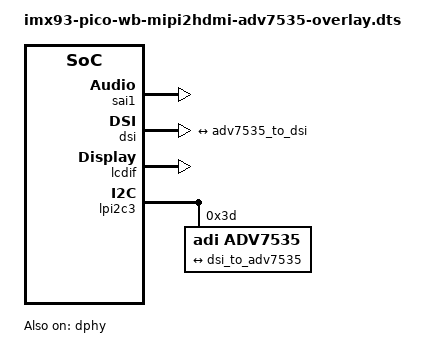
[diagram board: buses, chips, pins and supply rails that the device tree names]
// SPDX-License-Identifier: (GPL-2.0+ OR MIT)
/*
 * Copyright 2020 TechNexion Ltd.
 *
 * Author: Richard Hu <richard.hu@technexion.com>
 *
 */

/dts-v1/;
/plugin/;

#include <dt-bindings/interrupt-controller/irq.h>
#include <dt-bindings/gpio/gpio.h>

/ {
	fragment@0 {
		target-path = "/";
		__overlay__ {
			sound-adv7535 {
				compatible = "simple-audio-card";
				simple-audio-card,name = "adv7535-hdmi";
				simple-audio-card,mclk-fs = <256>;
				simple-audio-card,mclk-clk-id = <1>;
				simple-audio-card,format = "i2s";
				simple-audio-card,bitclock-master = <&sound_master>;
				simple-audio-card,frame-master = <&sound_master>;

				sound_master: simple-audio-card,cpu {
					sound-dai = <&sai1>;
				};

				simple-audio-card,codec {
					sound-dai = <&adv7535>;
				};
			};
		};
	};

	fragment@1 {
		target = <&sai1>;
		__overlay__ {
			#sound-dai-cells = <0>;
			fsl,sai-mclk-direction-output;
			status = "okay";
		};
	};

	fragment@2 {
		target = <&dphy>;
		__overlay__ {
			status = "okay";
		};
	};

	fragment@3 {
		target = <&dsi>;
		__overlay__ {
			status = "okay";

			ports {
				port@1 {
					dsi_to_adv7535: endpoint {
						remote-endpoint = <&adv7535_to_dsi>;
					};
				};
			};
		};
	};

	fragment@4 {
		target = <&lcdif>;
		__overlay__ {
			status = "okay";
			assigned-clock-rates = <445333333>, <148444444>, <400000000>, <133333333>;
		};
	};

	fragment@5 {
		target = <&lpi2c3>;
		__overlay__ {
			#address-cells = <1>;
			#size-cells = <0>;

			adv7535: hdmi@3d {
				compatible = "adi,adv7535";
				reg = <0x3d>;
				adi,addr-cec = <0x3b>;
				adi,dsi-lanes = <4>;
				status = "okay";
				#sound-dai-cells = <0>;

				port {
					adv7535_to_dsi: endpoint {
						remote-endpoint = <&dsi_to_adv7535>;
					};
				};
			};
		};
	};
};
